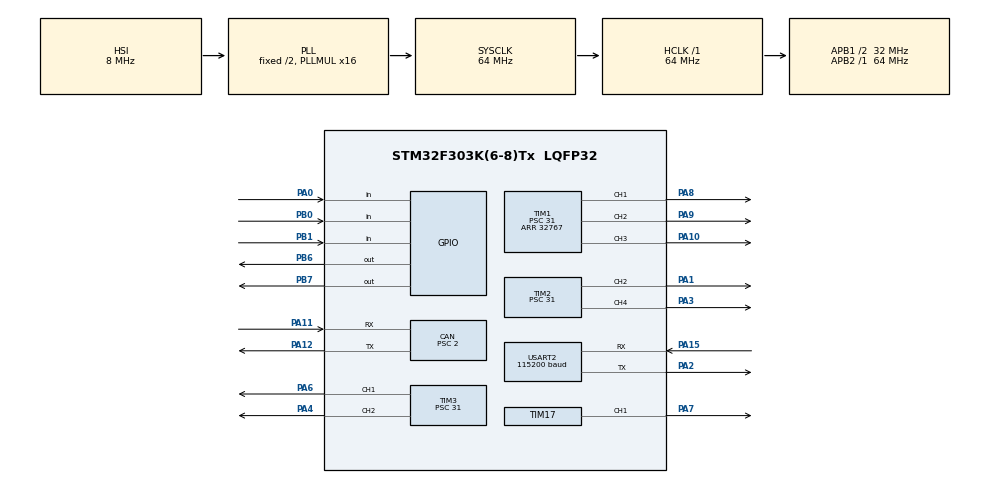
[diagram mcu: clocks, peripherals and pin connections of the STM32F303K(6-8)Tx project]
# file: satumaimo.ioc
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CAN.BS1=CAN_BS1_12TQ
CAN.BS2=CAN_BS2_3TQ
CAN.CalculateBaudRate=1000000
CAN.CalculateTimeBit=1000
CAN.CalculateTimeQuantum=62.5
CAN.Prescaler=2
Mcu.Family=STM32F3
Mcu.Name=STM32F303K(6-8)Tx
Mcu.Package=LQFP32
NVIC.CAN_RX0_IRQn=true\:0\:0\:false\:false\:true\:true\:true\:true
NVIC.CAN_RX1_IRQn=true\:0\:0\:false\:false\:true\:true\:true\:true
NVIC.CAN_SCE_IRQn=true\:0\:0\:false\:false\:true\:true\:true\:true
NVIC.CAN_TX_IRQn=true\:0\:0\:false\:false\:true\:true\:true\:true
NVIC.PriorityGroup=NVIC_PRIORITYGROUP_4
PA0.Signal=GPIO_Input
PA1.Signal=S_TIM2_CH2
PA10.Signal=S_TIM1_CH3
PA11.Mode=CAN_Activate
PA11.Signal=CAN_RX
PA12.Mode=CAN_Activate
PA12.Signal=CAN_TX
PA13.Mode=Serial_Wire
PA13.Signal=SYS_JTMS-SWDIO
PA14.Mode=Serial_Wire
PA14.Signal=SYS_JTCK-SWCLK
PA15.Mode=Asynchronous
PA15.Signal=USART2_RX
PA2.Mode=Asynchronous
PA2.Signal=USART2_TX
PA3.Signal=S_TIM2_CH4
PA4.Signal=S_TIM3_CH2
PA6.Signal=S_TIM3_CH1
PA7.Signal=S_TIM17_CH1
PA8.Signal=S_TIM1_CH1
PA9.Signal=S_TIM1_CH2
PB0.Signal=GPIO_Input
PB1.Signal=GPIO_Input
PB6.GPIO_PuPd=GPIO_NOPULL
PB6.PinState=GPIO_PIN_RESET
PB6.Signal=GPIO_Output
PB7.Signal=GPIO_Output
ProjectManager.HeapSize=0x200
ProjectManager.StackSize=0x400
ProjectManager.TargetToolchain=STM32CubeIDE
RCC.AHBFreq_Value=64000000
RCC.APB1CLKDivider=RCC_HCLK_DIV2
RCC.APB1Freq_Value=32000000
RCC.APB1TimFreq_Value=64000000
RCC.APB2Freq_Value=64000000
RCC.APB2TimFreq_Value=64000000
RCC.CortexFreq_Value=64000000
RCC.HCLKFreq_Value=64000000
RCC.HSE_VALUE=8000000
RCC.HSI_VALUE=8000000
RCC.PLLMUL=RCC_PLL_MUL16
RCC.SYSCLKFreq_VALUE=64000000
RCC.SYSCLKSourceVirtual=RCC_SYSCLKSOURCE_PLLCLK
SH.S_TIM17_CH1.0=TIM17_CH1,PWM Generation1 CH1
SH.S_TIM1_CH1.0=TIM1_CH1,PWM Generation1 CH1
SH.S_TIM1_CH2.0=TIM1_CH2,PWM Generation2 CH2
SH.S_TIM1_CH3.0=TIM1_CH3,PWM Generation3 CH3
SH.S_TIM2_CH2.0=TIM2_CH2,PWM Generation2 CH2
SH.S_TIM2_CH4.0=TIM2_CH4,PWM Generation4 CH4
SH.S_TIM3_CH1.0=TIM3_CH1,PWM Generation1 CH1
SH.S_TIM3_CH2.0=TIM3_CH2,PWM Generation2 CH2
TIM1.AutomaticOutput=TIM_AUTOMATICOUTPUT_ENABLE
TIM1.Channel-PWM\ Generation1\ CH1=TIM_CHANNEL_1
TIM1.Channel-PWM\ Generation2\ CH2=TIM_CHANNEL_2
TIM1.Channel-PWM\ Generation3\ CH3=TIM_CHANNEL_3
TIM1.Period=32767
TIM1.Prescaler=31
TIM17.Channel=TIM_CHANNEL_1
TIM17.Period=32767
TIM17.Prescaler=31
TIM2.Channel-PWM\ Generation2\ CH2=TIM_CHANNEL_2
TIM2.Channel-PWM\ Generation4\ CH4=TIM_CHANNEL_4
TIM2.Period=32767
TIM2.Prescaler=31
TIM3.Channel-PWM\ Generation1\ CH1=TIM_CHANNEL_1
TIM3.Channel-PWM\ Generation2\ CH2=TIM_CHANNEL_2
TIM3.Period=32767
TIM3.Prescaler=31
USART2.BaudRate=115200
USART2.VirtualMode-Asynchronous=VM_ASYNC
VP_TIM17_VS_ClockSourceINT.Mode=Enable_Timer
VP_TIM1_VS_ClockSourceINT.Mode=Internal
VP_TIM2_VS_ClockSourceINT.Mode=Internal
VP_TIM3_VS_ClockSourceINT.Mode=Internal
board=custom

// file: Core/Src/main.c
/* USER CODE BEGIN Header */
/**
  ******************************************************************************
  * @file           : main.c
  * @brief          : Main program body
  ******************************************************************************
  * @attention
  *
  * Copyright (c) 2025 STMicroelectronics.
  * All rights reserved.
  *
  * This software is licensed under terms that can be found in the LICENSE file
  * in the root directory of this software component.
  * If no LICENSE file comes with this software, it is provided AS-IS.
  *
  ******************************************************************************
  */
/* USER CODE END Header */
#include "main.h"
#include <stdlib.h>
#include <stdio.h>   /* この行を追加 */
#include <string.h>  /* この行を追加 */
#include <stdint.h>  /* この行を追加 */
#include <stdbool.h> /* この行を追加 */

/* USER CODE BEGIN PTD */
#define limiter 90
#define CLAMP(x, min, max) ((x) > (max) ? (max) : ((x) < (min) ? (min) : (x)))
#define NUM_MY_IDS 1
/* USER CODE END PTD */

CAN_HandleTypeDef hcan;

TIM_HandleTypeDef htim1;
TIM_HandleTypeDef htim2;
TIM_HandleTypeDef htim3;
TIM_HandleTypeDef htim17;

UART_HandleTypeDef huart2;

/* USER CODE BEGIN PV */
static volatile uint8_t rx_ready = 0;
static volatile uint8_t last_rx[8];
static volatile uint8_t last_len = 0;
static volatile int16_t power[4]; // volatileは付けておく
static uint32_t last_can_rx_tick = 0;
static volatile uint8_t processing_flag = 0;
//static uint32_t debug_counter = 0; /* デバッグ用カウンター */
//static uint32_t rx_process_counter = 0; /* 受信処理カウンター */
static uint32_t last_can_any_rx_tick = 0;   // 任意のCANメッセージ受信時刻
int my_can_ids[NUM_MY_IDS] = {1};  // 標準ID 0x001
int decimal;
void select_ID(){
	GPIO_PinState state_A = HAL_GPIO_ReadPin(GPIOB, GPIO_PIN_1);
	GPIO_PinState state_B = HAL_GPIO_ReadPin(GPIOB, GPIO_PIN_0);
	GPIO_PinState state_C = HAL_GPIO_ReadPin(GPIOA, GPIO_PIN_0);
	bool A = !state_A;
	bool B = !state_B;
	bool C = !state_C;

	decimal = (A << 2) | (B << 1) | (C << 0);
	my_can_ids[0] = decimal + 320;
}
bool is_my_can_id(uint32_t id) {
    for (int i = 0; i < NUM_MY_IDS; i++) {
        if (my_can_ids[i] == id) {
            return true;
        }
    }
    return false;
}

void HAL_CAN_RxFifo0MsgPendingCallback(CAN_HandleTypeDef *hcan) {
    CAN_RxHeaderTypeDef rxHeader;
    uint8_t rxData[8];

    /* FIFOのすべてのメッセージを処理（最新を優先） */
    while (HAL_CAN_GetRxMessage(hcan, CAN_RX_FIFO0, &rxHeader, rxData) == HAL_OK)
    {
        last_can_any_rx_tick = HAL_GetTick();  // どんなメッセージでも更新

        if (rxHeader.IDE == CAN_ID_STD && is_my_can_id(rxHeader.StdId)) {
            /* LED点灯（受信成功表示） */
            HAL_GPIO_WritePin(GPIOB, GPIO_PIN_6, GPIO_PIN_RESET);
            HAL_GPIO_WritePin(GPIOB, GPIO_PIN_7, GPIO_PIN_SET);

            last_can_rx_tick = HAL_GetTick();  // 自分宛なら更新

            /* 常に最新データに更新（rx_readyの状態に関係なく） */
            last_len = rxHeader.DLC;
            for (uint8_t i = 0; i < last_len; ++i)
            {
                last_rx[i] = rxData[i];
            }

            /* メモリバリアを追加 */
            __DSB();

            /* 新しいデータが来たことを通知 */
            rx_ready = 1;
        }

        /* 継続して次のメッセージもチェック */
    }
}

/* FIFO0オーバーフロー時のコールバック（デバッグ用） */
//void HAL_CAN_RxFifo0FullCallback(CAN_HandleTypeDef *hcan)
//{
//	char buf[] = "FIFO FULL!\r\n";
//	  HAL_UART_Transmit(&huart2, (uint8_t*)buf, strlen(buf), 100);
//  /* FIFOがフルになったことを示すLED表示 */
//  HAL_GPIO_WritePin(GPIOB, GPIO_PIN_6, GPIO_PIN_SET);
//  HAL_GPIO_WritePin(GPIOB, GPIO_PIN_7, GPIO_PIN_SET);
//
//  /* エラー対応: 古いメッセージを破棄して新しいメッセージを受信できるようにする */
//  uint8_t dummy_data[8];
//  CAN_RxHeaderTypeDef dummy_header;
//  while (HAL_CAN_GetRxFifoFillLevel(hcan, CAN_RX_FIFO0) > 0)
//  {
//    HAL_CAN_GetRxMessage(hcan, CAN_RX_FIFO0, &dummy_header, dummy_data);
//  }
//}
//
///* CANエラー時のコールバック（デバッグ用） */
//void HAL_CAN_ErrorCallback(CAN_HandleTypeDef *hcan)
//{
//
//  /* エラー状態をLEDで表示 */
//  HAL_GPIO_WritePin(GPIOB, GPIO_PIN_6, GPIO_PIN_SET);
//  HAL_GPIO_WritePin(GPIOB, GPIO_PIN_7, GPIO_PIN_RESET);
//
//  /* UART経由でエラー情報を出力 */
//  char error_buf[50];
//  uint32_t error_code = HAL_CAN_GetError(hcan);
//  sprintf(error_buf, "CAN Error: 0x%lX\r\n", error_code);
//  HAL_UART_Transmit(&huart2, (uint8_t *)error_buf, strlen(error_buf), 100);
//}
/* USER CODE END PV */

void SystemClock_Config(void);
static void MX_GPIO_Init(void);
static void MX_TIM1_Init(void);
static void MX_CAN_Init(void);
static void MX_TIM2_Init(void);
static void MX_TIM3_Init(void);
static void MX_TIM17_Init(void);
static void MX_USART2_UART_Init(void);

/* USER CODE BEGIN 0 */
static inline uint32_t pwm_limit(TIM_HandleTypeDef *htim, int32_t val)
{
  uint32_t arr = __HAL_TIM_GET_AUTORELOAD(htim);
  uint32_t mag = (uint32_t)(val >= 0 ? val : -val);
  return (mag > arr) ? arr : mag;
}

static inline void set_bidirectional_pwm(
    TIM_HandleTypeDef *htim_pos, uint32_t ch_pos,
    TIM_HandleTypeDef *htim_neg, uint32_t ch_neg,
    int16_t val)
{
  if (val > 0)
  {
    uint32_t duty = pwm_limit(htim_pos, val);
    __HAL_TIM_SET_COMPARE(htim_pos, ch_pos, duty);
    __HAL_TIM_SET_COMPARE(htim_neg, ch_neg, 0);
  }
  else if (val < 0)
  {
    uint32_t duty = pwm_limit(htim_neg, val);
    __HAL_TIM_SET_COMPARE(htim_neg, ch_neg, duty);
    __HAL_TIM_SET_COMPARE(htim_pos, ch_pos, 0);
  }
  else
  {
    __HAL_TIM_SET_COMPARE(htim_pos, ch_pos, 0);
    __HAL_TIM_SET_COMPARE(htim_neg, ch_neg, 0);
  }
}
/* USER CODE END 0 */

int main(void)
{

  /* MCU Configuration--------------------------------------------------------*/

  /* Reset of all peripherals, Initializes the Flash interface and the Systick. */
  HAL_Init();

  /* Configure the system clock */
  SystemClock_Config();

  /* Initialize all configured peripherals */
  MX_GPIO_Init();
  MX_TIM1_Init();
  MX_CAN_Init();
  MX_TIM2_Init();
  MX_TIM3_Init();
  MX_TIM17_Init();
  MX_USART2_UART_Init();
  /* USER CODE BEGIN 2 */
  HAL_GPIO_WritePin(GPIOB, GPIO_PIN_6 | GPIO_PIN_7, GPIO_PIN_RESET);
  select_ID();
  // フィルタ（全受信に変更）
  CAN_FilterTypeDef sFilterConfig = {0};
  sFilterConfig.FilterBank = 0;
  sFilterConfig.FilterMode = CAN_FILTERMODE_IDMASK;
  sFilterConfig.FilterScale = CAN_FILTERSCALE_32BIT;

  // 全ての標準IDを受信するための設定
  sFilterConfig.FilterIdHigh = 0x0000;
  sFilterConfig.FilterIdLow = 0x0000;

  // マスクで全許可（フィルタを無効化）
  sFilterConfig.FilterMaskIdHigh = 0x0000;
  sFilterConfig.FilterMaskIdLow = 0x0000;

  sFilterConfig.FilterFIFOAssignment = CAN_RX_FIFO0;
  sFilterConfig.FilterActivation = ENABLE;
  sFilterConfig.SlaveStartFilterBank = 14;

  HAL_CAN_ConfigFilter(&hcan, &sFilterConfig);

  if (HAL_CAN_ConfigFilter(&hcan, &sFilterConfig) != HAL_OK)
  {
    Error_Handler();
  }

  if (HAL_CAN_Start(&hcan) != HAL_OK)
  {
    Error_Handler();
  }

  if (HAL_CAN_ActivateNotification(&hcan,
                                   CAN_IT_RX_FIFO0_MSG_PENDING |
                                   CAN_IT_RX_FIFO0_OVERRUN |
                                   CAN_IT_ERROR_WARNING |
                                   CAN_IT_ERROR_PASSIVE |
                                   CAN_IT_BUSOFF) != HAL_OK)
  {
    Error_Handler();
  }
  HAL_TIM_PWM_Start(&htim1, TIM_CHANNEL_1);
  HAL_TIM_PWM_Start(&htim1, TIM_CHANNEL_2);
  HAL_TIM_PWM_Start(&htim1, TIM_CHANNEL_3);
  HAL_TIM_PWM_Start(&htim2, TIM_CHANNEL_2);
  HAL_TIM_PWM_Start(&htim2, TIM_CHANNEL_4);
  HAL_TIM_PWM_Start(&htim3, TIM_CHANNEL_1);
  HAL_TIM_PWM_Start(&htim3, TIM_CHANNEL_2);
  HAL_TIM_PWM_Start(&htim17, TIM_CHANNEL_1);
  /* USER CODE END 2 */

  /* Infinite loop */
  /* USER CODE BEGIN WHILE */
    while (1) {

        if (rx_ready) {
            __disable_irq();
            uint8_t len = last_len;
            uint8_t buf[8];
            // ガード（万一の異常長対策）
            if (len > 8) len = 8;
            for (uint8_t i = 0; i < len; ++i) buf[i] = last_rx[i];
            rx_ready = 0;
            __enable_irq();

            // 必須: 8バイト揃っているか確認（4チャネル×16bit前提）
            if (len >= 8) {
                for (int i = 0; i < 4; ++i) {
                    int16_t v = (int16_t)((buf[i * 2 + 1] << 8) | buf[i * 2]); // little-endian
                    // 対称に ±32767 へクランプ（absで32768にならないよう配慮するならこれでOK）
                    v = CLAMP(v, -32767, 32767);
                    power[i] = v;
                }

                // M0
                set_bidirectional_pwm(&htim2, TIM_CHANNEL_2, &htim2, TIM_CHANNEL_4, power[0]);
                // M1
                set_bidirectional_pwm(&htim3, TIM_CHANNEL_2, &htim3, TIM_CHANNEL_1, power[1]);
                // M2（別タイマの組み合わせ）
                set_bidirectional_pwm(&htim1, TIM_CHANNEL_1, &htim17, TIM_CHANNEL_1, power[2]);
                // M3（同一タイマ内の別チャネル）
                set_bidirectional_pwm(&htim1, TIM_CHANNEL_3, &htim1, TIM_CHANNEL_2, power[3]);
            } else {
                // 足りないフレームは無視（必要ならフェイルセーフ）
                // 例: 全停止
                __HAL_TIM_SET_COMPARE(&htim2, TIM_CHANNEL_2, 0);
                __HAL_TIM_SET_COMPARE(&htim2, TIM_CHANNEL_4, 0);
                __HAL_TIM_SET_COMPARE(&htim3, TIM_CHANNEL_2, 0);
                __HAL_TIM_SET_COMPARE(&htim3, TIM_CHANNEL_1, 0);
                __HAL_TIM_SET_COMPARE(&htim1, TIM_CHANNEL_1, 0);
                __HAL_TIM_SET_COMPARE(&htim17, TIM_CHANNEL_1, 0);
                __HAL_TIM_SET_COMPARE(&htim1, TIM_CHANNEL_3, 0);
                __HAL_TIM_SET_COMPARE(&htim1, TIM_CHANNEL_2, 0);
            }
            // ここで buf[0..len-1] を使って追加処理があれば
        }

        // CAN通信状態に応じたLED表示とフェイルセーフ
        uint32_t now = HAL_GetTick();

        if (now - last_can_any_rx_tick > 50) {
            // 50ms以上CAN無信号ならLED両方消灯全停止
            HAL_GPIO_WritePin(GPIOB, GPIO_PIN_6, GPIO_PIN_RESET);
            HAL_GPIO_WritePin(GPIOB, GPIO_PIN_7, GPIO_PIN_RESET);

            // 全停止
            __HAL_TIM_SET_COMPARE(&htim2, TIM_CHANNEL_2, 0);
            __HAL_TIM_SET_COMPARE(&htim2, TIM_CHANNEL_4, 0);
            __HAL_TIM_SET_COMPARE(&htim3, TIM_CHANNEL_2, 0);
            __HAL_TIM_SET_COMPARE(&htim3, TIM_CHANNEL_1, 0);
            __HAL_TIM_SET_COMPARE(&htim1, TIM_CHANNEL_1, 0);
            __HAL_TIM_SET_COMPARE(&htim17, TIM_CHANNEL_1, 0);
            __HAL_TIM_SET_COMPARE(&htim1, TIM_CHANNEL_3, 0);
            __HAL_TIM_SET_COMPARE(&htim1, TIM_CHANNEL_2, 0);
        } else if (now - last_can_rx_tick > 50) {
            // 自分宛CAN通信が50ms以上来なかったらPIN6消灯PIN7点灯で全停止
            HAL_GPIO_WritePin(GPIOB, GPIO_PIN_6, GPIO_PIN_SET);
            HAL_GPIO_WritePin(GPIOB, GPIO_PIN_7, GPIO_PIN_RESET);

            // 全停止
            __HAL_TIM_SET_COMPARE(&htim2, TIM_CHANNEL_2, 0);
            __HAL_TIM_SET_COMPARE(&htim2, TIM_CHANNEL_4, 0);
            __HAL_TIM_SET_COMPARE(&htim3, TIM_CHANNEL_2, 0);
            __HAL_TIM_SET_COMPARE(&htim3, TIM_CHANNEL_1, 0);
            __HAL_TIM_SET_COMPARE(&htim1, TIM_CHANNEL_1, 0);
            __HAL_TIM_SET_COMPARE(&htim17, TIM_CHANNEL_1, 0);
            __HAL_TIM_SET_COMPARE(&htim1, TIM_CHANNEL_3, 0);
            __HAL_TIM_SET_COMPARE(&htim1, TIM_CHANNEL_2, 0);
        }

    }
  /* USER CODE END 3 */
}

void SystemClock_Config(void)
{
  RCC_OscInitTypeDef RCC_OscInitStruct = {0};
  RCC_ClkInitTypeDef RCC_ClkInitStruct = {0};
  RCC_PeriphCLKInitTypeDef PeriphClkInit = {0};

  /** Initializes the RCC Oscillators according to the specified parameters
   * in the RCC_OscInitTypeDef structure.
   */
  RCC_OscInitStruct.OscillatorType = RCC_OSCILLATORTYPE_HSI;
  RCC_OscInitStruct.HSIState = RCC_HSI_ON;
  RCC_OscInitStruct.HSICalibrationValue = RCC_HSICALIBRATION_DEFAULT;
  RCC_OscInitStruct.PLL.PLLState = RCC_PLL_ON;
  RCC_OscInitStruct.PLL.PLLSource = RCC_PLLSOURCE_HSI;
  RCC_OscInitStruct.PLL.PLLMUL = RCC_PLL_MUL16;
  if (HAL_RCC_OscConfig(&RCC_OscInitStruct) != HAL_OK)
  {
    Error_Handler();
  }

  /** Initializes the CPU, AHB and APB buses clocks
   */
  RCC_ClkInitStruct.ClockType = RCC_CLOCKTYPE_HCLK | RCC_CLOCKTYPE_SYSCLK | RCC_CLOCKTYPE_PCLK1 | RCC_CLOCKTYPE_PCLK2;
  RCC_ClkInitStruct.SYSCLKSource = RCC_SYSCLKSOURCE_PLLCLK;
  RCC_ClkInitStruct.AHBCLKDivider = RCC_SYSCLK_DIV1;
  RCC_ClkInitStruct.APB1CLKDivider = RCC_HCLK_DIV2;
  RCC_ClkInitStruct.APB2CLKDivider = RCC_HCLK_DIV1;

  if (HAL_RCC_ClockConfig(&RCC_ClkInitStruct, FLASH_LATENCY_2) != HAL_OK)
  {
    Error_Handler();
  }
  PeriphClkInit.PeriphClockSelection = RCC_PERIPHCLK_TIM1;
  PeriphClkInit.Tim1ClockSelection = RCC_TIM1CLK_HCLK;
  if (HAL_RCCEx_PeriphCLKConfig(&PeriphClkInit) != HAL_OK)
  {
    Error_Handler();
  }
}

static void MX_CAN_Init(void)
{

  hcan.Instance = CAN;
  hcan.Init.Prescaler = 2;
  hcan.Init.Mode = CAN_MODE_NORMAL;
  hcan.Init.SyncJumpWidth = CAN_SJW_1TQ;
  hcan.Init.TimeSeg1 = CAN_BS1_12TQ;
  hcan.Init.TimeSeg2 = CAN_BS2_3TQ;
  hcan.Init.TimeTriggeredMode = DISABLE;
  hcan.Init.AutoBusOff = DISABLE;
  hcan.Init.AutoWakeUp = DISABLE;
  hcan.Init.AutoRetransmission = ENABLE;  /* 自動再送を有効化 */
  hcan.Init.ReceiveFifoLocked = DISABLE;
  hcan.Init.TransmitFifoPriority = DISABLE;
  if (HAL_CAN_Init(&hcan) != HAL_OK)
  {
    Error_Handler();
  }
}

static void MX_TIM1_Init(void)
{

  TIM_ClockConfigTypeDef sClockSourceConfig = {0};
  TIM_MasterConfigTypeDef sMasterConfig = {0};
  TIM_OC_InitTypeDef sConfigOC = {0};
  TIM_BreakDeadTimeConfigTypeDef sBreakDeadTimeConfig = {0};

  htim1.Instance = TIM1;
  htim1.Init.Prescaler = 31;
  htim1.Init.CounterMode = TIM_COUNTERMODE_UP;
  htim1.Init.Period = 32767;
  htim1.Init.ClockDivision = TIM_CLOCKDIVISION_DIV1;
  htim1.Init.RepetitionCounter = 0;
  htim1.Init.AutoReloadPreload = TIM_AUTORELOAD_PRELOAD_DISABLE;
  if (HAL_TIM_Base_Init(&htim1) != HAL_OK)
  {
    Error_Handler();
  }
  sClockSourceConfig.ClockSource = TIM_CLOCKSOURCE_INTERNAL;
  if (HAL_TIM_ConfigClockSource(&htim1, &sClockSourceConfig) != HAL_OK)
  {
    Error_Handler();
  }
  if (HAL_TIM_PWM_Init(&htim1) != HAL_OK)
  {
    Error_Handler();
  }
  sMasterConfig.MasterOutputTrigger = TIM_TRGO_RESET;
  sMasterConfig.MasterOutputTrigger2 = TIM_TRGO2_RESET;
  sMasterConfig.MasterSlaveMode = TIM_MASTERSLAVEMODE_DISABLE;
  if (HAL_TIMEx_MasterConfigSynchronization(&htim1, &sMasterConfig) != HAL_OK)
  {
    Error_Handler();
  }
  sConfigOC.OCMode = TIM_OCMODE_PWM1;
  sConfigOC.Pulse = 0;
  sConfigOC.OCPolarity = TIM_OCPOLARITY_HIGH;
  sConfigOC.OCNPolarity = TIM_OCNPOLARITY_HIGH;
  sConfigOC.OCFastMode = TIM_OCFAST_DISABLE;
  sConfigOC.OCIdleState = TIM_OCIDLESTATE_RESET;
  sConfigOC.OCNIdleState = TIM_OCNIDLESTATE_RESET;
  if (HAL_TIM_PWM_ConfigChannel(&htim1, &sConfigOC, TIM_CHANNEL_1) != HAL_OK)
  {
    Error_Handler();
  }
  if (HAL_TIM_PWM_ConfigChannel(&htim1, &sConfigOC, TIM_CHANNEL_2) != HAL_OK)
  {
    Error_Handler();
  }
  if (HAL_TIM_PWM_ConfigChannel(&htim1, &sConfigOC, TIM_CHANNEL_3) != HAL_OK)
  {
    Error_Handler();
  }
  sBreakDeadTimeConfig.OffStateRunMode = TIM_OSSR_DISABLE;
  sBreakDeadTimeConfig.OffStateIDLEMode = TIM_OSSI_DISABLE;
  sBreakDeadTimeConfig.LockLevel = TIM_LOCKLEVEL_OFF;
  sBreakDeadTimeConfig.DeadTime = 0;
  sBreakDeadTimeConfig.BreakState = TIM_BREAK_DISABLE;
  sBreakDeadTimeConfig.BreakPolarity = TIM_BREAKPOLARITY_HIGH;
  sBreakDeadTimeConfig.BreakFilter = 0;
  sBreakDeadTimeConfig.Break2State = TIM_BREAK2_DISABLE;
  sBreakDeadTimeConfig.Break2Polarity = TIM_BREAK2POLARITY_HIGH;
  sBreakDeadTimeConfig.Break2Filter = 0;
  sBreakDeadTimeConfig.AutomaticOutput = TIM_AUTOMATICOUTPUT_ENABLE;
  if (HAL_TIMEx_ConfigBreakDeadTime(&htim1, &sBreakDeadTimeConfig) != HAL_OK)
  {
    Error_Handler();
  }
  HAL_TIM_MspPostInit(&htim1);
}

static void MX_TIM2_Init(void)
{

  TIM_ClockConfigTypeDef sClockSourceConfig = {0};
  TIM_MasterConfigTypeDef sMasterConfig = {0};
  TIM_OC_InitTypeDef sConfigOC = {0};

  htim2.Instance = TIM2;
  htim2.Init.Prescaler = 31;
  htim2.Init.CounterMode = TIM_COUNTERMODE_UP;
  htim2.Init.Period = 32767;
  htim2.Init.ClockDivision = TIM_CLOCKDIVISION_DIV1;
  htim2.Init.AutoReloadPreload = TIM_AUTORELOAD_PRELOAD_DISABLE;
  if (HAL_TIM_Base_Init(&htim2) != HAL_OK)
  {
    Error_Handler();
  }
  sClockSourceConfig.ClockSource = TIM_CLOCKSOURCE_INTERNAL;
  if (HAL_TIM_ConfigClockSource(&htim2, &sClockSourceConfig) != HAL_OK)
  {
    Error_Handler();
  }
  if (HAL_TIM_PWM_Init(&htim2) != HAL_OK)
  {
    Error_Handler();
  }
  sMasterConfig.MasterOutputTrigger = TIM_TRGO_RESET;
  sMasterConfig.MasterSlaveMode = TIM_MASTERSLAVEMODE_DISABLE;
  if (HAL_TIMEx_MasterConfigSynchronization(&htim2, &sMasterConfig) != HAL_OK)
  {
    Error_Handler();
  }
  sConfigOC.OCMode = TIM_OCMODE_PWM1;
  sConfigOC.Pulse = 0;
  sConfigOC.OCPolarity = TIM_OCPOLARITY_HIGH;
  sConfigOC.OCFastMode = TIM_OCFAST_DISABLE;
  if (HAL_TIM_PWM_ConfigChannel(&htim2, &sConfigOC, TIM_CHANNEL_2) != HAL_OK)
  {
    Error_Handler();
  }
  if (HAL_TIM_PWM_ConfigChannel(&htim2, &sConfigOC, TIM_CHANNEL_4) != HAL_OK)
  {
    Error_Handler();
  }
  HAL_TIM_MspPostInit(&htim2);
}

static void MX_TIM3_Init(void)
{

  TIM_ClockConfigTypeDef sClockSourceConfig = {0};
  TIM_MasterConfigTypeDef sMasterConfig = {0};
  TIM_OC_InitTypeDef sConfigOC = {0};

  htim3.Instance = TIM3;
  htim3.Init.Prescaler = 31;
  htim3.Init.CounterMode = TIM_COUNTERMODE_UP;
  htim3.Init.Period = 32767;
  htim3.Init.ClockDivision = TIM_CLOCKDIVISION_DIV1;
  htim3.Init.AutoReloadPreload = TIM_AUTORELOAD_PRELOAD_DISABLE;
  if (HAL_TIM_Base_Init(&htim3) != HAL_OK)
  {
    Error_Handler();
  }
  sClockSourceConfig.ClockSource = TIM_CLOCKSOURCE_INTERNAL;
  if (HAL_TIM_ConfigClockSource(&htim3, &sClockSourceConfig) != HAL_OK)
  {
    Error_Handler();
  }
  if (HAL_TIM_PWM_Init(&htim3) != HAL_OK)
  {
    Error_Handler();
  }
  sMasterConfig.MasterOutputTrigger = TIM_TRGO_RESET;
  sMasterConfig.MasterSlaveMode = TIM_MASTERSLAVEMODE_DISABLE;
  if (HAL_TIMEx_MasterConfigSynchronization(&htim3, &sMasterConfig) != HAL_OK)
  {
    Error_Handler();
  }
  sConfigOC.OCMode = TIM_OCMODE_PWM1;
  sConfigOC.Pulse = 0;
  sConfigOC.OCPolarity = TIM_OCPOLARITY_HIGH;
  sConfigOC.OCFastMode = TIM_OCFAST_DISABLE;
  if (HAL_TIM_PWM_ConfigChannel(&htim3, &sConfigOC, TIM_CHANNEL_1) != HAL_OK)
  {
    Error_Handler();
  }
  if (HAL_TIM_PWM_ConfigChannel(&htim3, &sConfigOC, TIM_CHANNEL_2) != HAL_OK)
  {
    Error_Handler();
  }
  HAL_TIM_MspPostInit(&htim3);
}

static void MX_TIM17_Init(void)
{

  TIM_OC_InitTypeDef sConfigOC = {0};
  TIM_BreakDeadTimeConfigTypeDef sBreakDeadTimeConfig = {0};

  htim17.Instance = TIM17;
  htim17.Init.Prescaler = 31;
  htim17.Init.CounterMode = TIM_COUNTERMODE_UP;
  htim17.Init.Period = 32767;
  htim17.Init.ClockDivision = TIM_CLOCKDIVISION_DIV1;
  htim17.Init.RepetitionCounter = 0;
  htim17.Init.AutoReloadPreload = TIM_AUTORELOAD_PRELOAD_DISABLE;
  if (HAL_TIM_Base_Init(&htim17) != HAL_OK)
  {
    Error_Handler();
  }
  if (HAL_TIM_PWM_Init(&htim17) != HAL_OK)
  {
    Error_Handler();
  }
  sConfigOC.OCMode = TIM_OCMODE_PWM1;
  sConfigOC.Pulse = 0;
  sConfigOC.OCPolarity = TIM_OCPOLARITY_HIGH;
  sConfigOC.OCNPolarity = TIM_OCNPOLARITY_HIGH;
  sConfigOC.OCFastMode = TIM_OCFAST_DISABLE;
  sConfigOC.OCIdleState = TIM_OCIDLESTATE_RESET;
  sConfigOC.OCNIdleState = TIM_OCNIDLESTATE_RESET;
  if (HAL_TIM_PWM_ConfigChannel(&htim17, &sConfigOC, TIM_CHANNEL_1) != HAL_OK)
  {
    Error_Handler();
  }
  sBreakDeadTimeConfig.OffStateRunMode = TIM_OSSR_DISABLE;
  sBreakDeadTimeConfig.OffStateIDLEMode = TIM_OSSI_DISABLE;
  sBreakDeadTimeConfig.LockLevel = TIM_LOCKLEVEL_OFF;
  sBreakDeadTimeConfig.DeadTime = 0;
  sBreakDeadTimeConfig.BreakState = TIM_BREAK_DISABLE;
  sBreakDeadTimeConfig.BreakPolarity = TIM_BREAKPOLARITY_HIGH;
  sBreakDeadTimeConfig.BreakFilter = 0;
  sBreakDeadTimeConfig.AutomaticOutput = TIM_AUTOMATICOUTPUT_DISABLE;
  if (HAL_TIMEx_ConfigBreakDeadTime(&htim17, &sBreakDeadTimeConfig) != HAL_OK)
  {
    Error_Handler();
  }
  HAL_TIM_MspPostInit(&htim17);
}

static void MX_USART2_UART_Init(void)
{

  huart2.Instance = USART2;
  huart2.Init.BaudRate = 115200;
  huart2.Init.WordLength = UART_WORDLENGTH_8B;
  huart2.Init.StopBits = UART_STOPBITS_1;
  huart2.Init.Parity = UART_PARITY_NONE;
  huart2.Init.Mode = UART_MODE_TX_RX;
  huart2.Init.HwFlowCtl = UART_HWCONTROL_NONE;
  huart2.Init.OverSampling = UART_OVERSAMPLING_16;
  huart2.Init.OneBitSampling = UART_ONE_BIT_SAMPLE_DISABLE;
  huart2.AdvancedInit.AdvFeatureInit = UART_ADVFEATURE_NO_INIT;
  if (HAL_UART_Init(&huart2) != HAL_OK)
  {
    Error_Handler();
  }
}

static void MX_GPIO_Init(void)
{
  GPIO_InitTypeDef GPIO_InitStruct = {0};

  /* GPIO Ports Clock Enable */
  __HAL_RCC_GPIOA_CLK_ENABLE();
  __HAL_RCC_GPIOB_CLK_ENABLE();

  /*Configure GPIO pin Output Level */
  HAL_GPIO_WritePin(GPIOB, GPIO_PIN_6 | GPIO_PIN_7, GPIO_PIN_RESET);

  /*Configure GPIO pin : PA0 */
  GPIO_InitStruct.Pin = GPIO_PIN_0;
  GPIO_InitStruct.Mode = GPIO_MODE_INPUT;
  GPIO_InitStruct.Pull = GPIO_NOPULL;
  HAL_GPIO_Init(GPIOA, &GPIO_InitStruct);

  /*Configure GPIO pins : PB0 PB1 */
  GPIO_InitStruct.Pin = GPIO_PIN_0 | GPIO_PIN_1;
  GPIO_InitStruct.Mode = GPIO_MODE_INPUT;
  GPIO_InitStruct.Pull = GPIO_NOPULL;
  HAL_GPIO_Init(GPIOB, &GPIO_InitStruct);

  /*Configure GPIO pins : PB6 PB7 */
  GPIO_InitStruct.Pin = GPIO_PIN_6 | GPIO_PIN_7;
  GPIO_InitStruct.Mode = GPIO_MODE_OUTPUT_PP;
  GPIO_InitStruct.Pull = GPIO_NOPULL;
  GPIO_InitStruct.Speed = GPIO_SPEED_FREQ_LOW;
  HAL_GPIO_Init(GPIOB, &GPIO_InitStruct);

}

void Error_Handler(void)
{
  __disable_irq();
  while (1)
  {
  }
}
